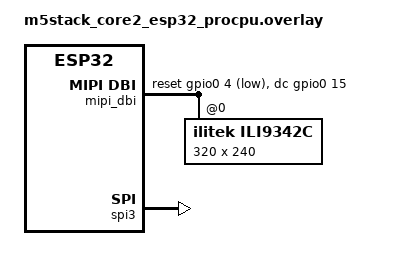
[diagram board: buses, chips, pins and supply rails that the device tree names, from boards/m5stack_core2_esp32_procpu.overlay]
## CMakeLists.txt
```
cmake_minimum_required(VERSION 3.20.0)

find_package(Zephyr REQUIRED HINTS $ENV{ZEPHYR_BASE})
project(m5core2_display)

target_sources(app PRIVATE src/main.c)
```

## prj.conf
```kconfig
# Basic system configs
CONFIG_PRINTK=y
CONFIG_GPIO=y

# SPI and Display configs
CONFIG_SPI=y
CONFIG_DISPLAY=y
CONFIG_ILI9342C=y

# Additional configs that may be needed
CONFIG_MIPI_DBI=y

# For better debugging
CONFIG_ASSERT=y

CONFIG_ESP32_USE_UNSUPPORTED_REVISION=y

CONFIG_REGULATOR=y
CONFIG_I2C=y
```

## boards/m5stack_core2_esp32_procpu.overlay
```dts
/*
 * Device tree overlay for M5 Core 2 ILI9342C display
 */

#include <dt-bindings/gpio/gpio.h>

/ {
	chosen {
		zephyr,display = &ili9342c;
	};

	mipi_dbi {
		compatible = "zephyr,mipi-dbi-spi";
		spi-dev = <&spi3>;
		dc-gpios = <&gpio0 15 GPIO_ACTIVE_HIGH>;	/* DC pin */
		reset-gpios = <&gpio0 4 GPIO_ACTIVE_LOW>;	/* Reset pin - may need AXP192 control */
		#address-cells = <1>;
		#size-cells = <0>;

		ili9342c: ili9342c@0 {
			compatible = "ilitek,ili9342c";
			reg = <0>;
			//spi-max-frequency = <25000000>; /* 25 MHz max for ILI9342C */
			
			pixel-format = <0>; /* RGB565 */
			rotation = <0>;
			width = <320>;
			height = <240>;
			display-inversion;
		};
	};
};

&spi3 {
	status = "okay";
	#address-cells = <1>;
	#size-cells = <0>;
	cs-gpios = <&gpio0 5 GPIO_ACTIVE_LOW>;	/* CS pin */
};
```

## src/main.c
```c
#include <zephyr/kernel.h>
#include <zephyr/device.h>
#include <zephyr/sys/printk.h>

#include "display.h"
#include "haptics.h"

#define GUI_TEST_THREAD_PRIORITY 7
#define TEST_THREAD_STACK_SIZE 1024

int main(void) {
    int ret;
    printk("Starting display test...\n");
    ret = display_init();
    printk("Display initialisation exited with: %d\n", ret);
    ret = haptics_init();
    printk("Haptics initialisation exited with: %d\n", ret);
    
}

/* Test thread. */
int gui_test_thread(void) {

    // wait for inits..
    k_sleep(K_SECONDS(20));

    printk("GUI Thread Starting...\n");
    int cycle = 0;
    
    int count = 0;
    while (count < 20) {
        haptics_start();
        trig_emergency_warning(cycle);
        for (int strength = 1; strength <= 100; strength += 1) {
            haptics_set_strength(strength);
            k_sleep(K_MSEC(4));
        }
        for (int strength = 100; strength >= 1; strength -= 1) {
            haptics_set_strength(strength);
            k_sleep(K_MSEC(4));
        }
        haptics_stop();
        k_sleep(K_MSEC(100));
        cycle = !cycle;
        count++;
    }
    
    return 0;
}

/* Define threads with respective priority. */
//REF: https://github.com/zephyrproject-rtos/zephyr/blob/main/samples/basic/threads/
K_THREAD_DEFINE(gui_test_thread_id, TEST_THREAD_STACK_SIZE,
    gui_test_thread, NULL, NULL, NULL,
    GUI_TEST_THREAD_PRIORITY, 0, 0);
```

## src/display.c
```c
/*
 * M5 Core 2 Display Example
 */

#include <zephyr/kernel.h>
#include <zephyr/device.h>
#include <zephyr/drivers/display.h>
#include <zephyr/drivers/gpio.h>
#include <zephyr/sys/printk.h>

#include <string.h>

#include "display.h"

//#define USE_BIG_NUMS

#ifdef USE_BIG_NUMS
#include "font32x48_nums.h"
#endif
#include "font16x16.h"
#include "font8x8.h"

#define DISPLAY_NODE DT_CHOSEN(zephyr_display)

/* Buffer for drawing patterns */
static uint16_t display_buffer[DISPLAY_HEIGHT * DISPLAY_WIDTH];

//uint16_t *display_buffer = NULL;
//size_t buffer_size = DISPLAY_WIDTH * DISPLAY_HEIGHT * sizeof(uint16_t);

static const struct device *display_dev;
static struct display_capabilities display_caps;

struct display_buffer_descriptor desc = {
            .buf_size = DISPLAY_WIDTH * DISPLAY_HEIGHT * 2,
            .width = DISPLAY_WIDTH,
            .height = DISPLAY_HEIGHT,
            .pitch = DISPLAY_WIDTH,
};



static void draw_test_pattern_1(void)
{
    int width = display_caps.x_resolution;
    int height = display_caps.y_resolution;
    
    printk("Drawing test pattern on %dx%d display\n", width, height);
    
    /* Create a colorful test pattern */
    for (int y = 0; y < height; y++) {
        for (int x = 0; x < width; x++) {
            uint16_t color;
            
            /* Create vertical color bars */
            if (x < width / 8) {
                color = RED;
            } else if (x < width * 2 / 8) {
                color = GREEN;
            } else if (x < width * 3 / 8) {
                color = BLUE;
            } else if (x < width * 4 / 8) {
                color = YELLOW;
            } else if (x < width * 5 / 8) {
                color = CYAN;
            } else if (x < width * 6 / 8) {
                color = MAGENTA;
            } else if (x < width * 7 / 8) {
                color = WHITE;
            } else {
                color = BLACK;
            }
            
            /* Add horizontal gradient effect */
            if (y > height / 2) {
                /* Dim the lower half */
                color = (color >> 1) & 0x7BEF; /* Divide RGB components by 2 */
            }
            
            display_buffer[y * width + x] = color;
        }
    }
    
    /* Write the buffer to display */
    struct display_buffer_descriptor desc = {
        .buf_size = width * height * 2, /* 2 bytes per pixel for RGB565 */
        .width = width,
        .height = height,
        .pitch = width,
    };
    
    int ret = display_write(display_dev, 0, 0, &desc, display_buffer);
    if (ret != 0) {
        printk("Failed to write to display: %d\n", ret);
    } else {
        printk("Test pattern drawn successfully\n");
    }
}
/*
static void draw_test_pattern_2(void)
{
    int width = display_caps.x_resolution;
    int height = display_caps.y_resolution;
    
    printk("Drawing simple rectangles\n");
    
    // Clear display first.
    memset(display_buffer, 0, sizeof(display_buffer));
    
    // Draw colored rectangles.
    uint16_t colors[] = {RED, GREEN, BLUE, YELLOW};
    int rect_width = width / 2;
    int rect_height = height / 2;
    
    for (int rect = 0; rect < 4; rect++) {
        int start_x = (rect % 2) * rect_width;
        int start_y = (rect / 2) * rect_height;
        uint16_t color = colors[rect];
        
        for (int y = start_y; y < start_y + rect_height; y++) {
            for (int x = start_x; x < start_x + rect_width; x++) {
                if (x < width && y < height) {
                    display_buffer[y * width + x] = color;
                }
            }
        }
    }
    
    // Write to display. 
    struct display_buffer_descriptor desc = {
        .buf_size = width * height * 2,
        .width = width,
        .height = height,
        .pitch = width,
    };
    
    int ret = display_write(display_dev, 0, 0, &desc, display_buffer);
    if (ret != 0) {
        printk("Failed to write rectangles to display: %d\n", ret);
    } else {
        printk("Rectangles drawn successfully\n");
    }
}
*/
void fill_buffer(uint16_t color) {
    for (int i = 0; i < DISPLAY_WIDTH * DISPLAY_HEIGHT; i++) {
        display_buffer[i] = color;
    }
}

void draw_rectangle(int x, int y, int width, int height, uint16_t color) {
    for (int row = 0; row < height; row++) {
        for (int col = 0; col < width; col++) {
            int pixel_x = x + col;
            int pixel_y = y + row;
            
            if (pixel_x >= 0 && pixel_x < DISPLAY_WIDTH && 
                pixel_y >= 0 && pixel_y < DISPLAY_HEIGHT) {
                display_buffer[pixel_y * DISPLAY_WIDTH + pixel_x] = color;
            } else {
                printk("Bounding error in draw_rectangle!\n");
            }
        }
    }
}

static void draw_exclamation_mark(uint16_t *buffer, uint16_t color) {
    int center_x = DISPLAY_WIDTH / 2;
    int center_y = DISPLAY_HEIGHT / 2;
    
    int line_width = 12;    /* Width of vertical line */
    int line_height = 80;   /* Height of vertical line */
    int dot_size = 12;      /* Size of dot (square) */
    int gap = 15;           /* Gap between line and dot */
    
    int line_x = center_x - (line_width / 2);
    int line_y = center_y - (line_height / 2) - (gap / 2) - (dot_size / 2);
    
    int dot_x = center_x - (dot_size / 2);
    int dot_y = line_y + line_height + gap;
    
    draw_rectangle(line_x, line_y, line_width, line_height, color);
    draw_rectangle(dot_x, dot_y, dot_size, dot_size, color);

}

int trig_emergency_warning(int state) {

    //printk("Drawing Exclamation!\n");

    //memset(display_buffer, 0, sizeof(display_buffer));
    clear_buffer();

    int center_x = DISPLAY_WIDTH / 2;
    int center_y = DISPLAY_HEIGHT / 2;
    
    int line_width = 12;
    int line_height = 80;
    int dot_size = 12;
    int gap = 15;
    
    int line_x = center_x - (line_width / 2);
    int line_y = center_y - (line_height / 2) - (gap / 2) - (dot_size / 2);
    
    int dot_x = center_x - (dot_size / 2);
    int dot_y = line_y + line_height + gap;

    if (state) {
        fill_buffer(RED);
        draw_exclamation_mark(display_buffer, WHITE);
        
        // Position "RECORDING" between bottom of exclamation and bottom of screen
        int text_x = center_x - 72;  // 9 chars * 16 pixels / 2
        int text_y = (dot_y + dot_size + DISPLAY_HEIGHT) / 2 - 8;  // Centered vertically
        draw_text_16(text_x, text_y, "RECORDING", WHITE, RED);
        
    } else {
        fill_buffer(BLUE);
        draw_exclamation_mark(display_buffer, BLACK);
        
        // Position "RECORDING" between bottom of exclamation and bottom of screen
        int text_x = center_x - 72;  // 9 chars * 16 pixels / 2
        int text_y = (dot_y + dot_size + DISPLAY_HEIGHT) / 2 - 8;  // Centered vertically
        draw_text_16(text_x, text_y, "RECORDING", BLACK, BLUE);
    }

    int ret = display_write(display_dev, 0, 0, &desc, display_buffer);
    if (ret != 0) {
        printk("Failed to write rectangles to display: %d\n", ret);
    } else {
        //printk("Rectangles drawn successfully\n");
    }

    return 0;
}

void send_buffer() {
    display_write(display_dev, 0, 0, &desc, display_buffer);
}

void clear_buffer() {
    memset(display_buffer, 0, DISPLAY_WIDTH * DISPLAY_HEIGHT * 2);
    //memset(display_buffer, 0, buffer_size);
}

#ifdef USE_BIG_NUMS
void draw_dot_32(uint16_t *buffer, int x, int y, uint16_t color, uint16_t bg_color) {

    const int dot_size = 8;
    const int dot_width = 16;  // Total advance width (narrower than numbers)
    const int dot_start_row = 35;  // Start drawing dot at row 35 (out of 48 total)
    const int dot_start_col = (dot_width - dot_size) / 2;  // Center horizontally
    
    // Draw background for the entire dot character area (16 pixels wide)
    for (int row = 0; row < 48; row++) {
        for (int col = 0; col < dot_width; col++) {
            int pixel_x = x + col;
            int pixel_y = y + row;
            
            // Bounds checking
            if (pixel_x >= DISPLAY_WIDTH || pixel_y >= DISPLAY_HEIGHT || 
                pixel_x < 0 || pixel_y < 0) {
                continue;
            }
            
            // Determine if this pixel is part of the dot
            bool is_dot = false;
            if (row >= dot_start_row && row < dot_start_row + dot_size &&
                col >= dot_start_col && col < dot_start_col + dot_size) {
                is_dot = true;
            }
            
            uint16_t pixel_color = is_dot ? color : bg_color;
            buffer[pixel_y * DISPLAY_WIDTH + pixel_x] = pixel_color;
        }
    }
}
#endif

void draw_string_variable(uint16_t *buffer, int x, int y, const char *text, 
                         const uint8_t *font, uint16_t color, uint16_t bg_color) {

    uint8_t font_width = font[2];
    uint8_t font_height = font[3];
    uint8_t first_char = font[4];
    uint8_t char_count = font[5];
    const uint8_t *font_data = &font[6];
    
    int current_x = x;
    
    for (int i = 0; text[i] != '\0'; i++) {
        char c = text[i];
        
        #ifdef USE_BIG_NUMS
        if (c == '.' && font == fixednums32x48) {
            draw_dot_32(buffer, current_x, y, color, bg_color);
            current_x += 16; 
            continue;
        }
        #endif
        
        if (c < first_char || c >= first_char + char_count) {
            current_x += font_width;
            continue;
        }
        
        int char_index = c - first_char;
        
        int bytes_per_char;
        if (font_width == 8) {
            bytes_per_char = font_height; // 1 byte per row for 8-pixel width
        } else if (font_width == 16) {
            bytes_per_char = font_height * 2; // 2 bytes per row for 16-pixel width
        } else if (font_width == 32) {
            bytes_per_char = font_height * 4; // 4 bytes per row for 32-pixel width
        } else {
            // Unsupported font width, skip
            current_x += font_width;
            continue;
        }
        
        const uint8_t *char_data = font_data + (char_index * bytes_per_char);
        
        for (int row = 0; row < font_height; row++) {
            for (int col = 0; col < font_width; col++) {
                int pixel_x = current_x + col;
                int pixel_y = y + row;

                if (pixel_x >= DISPLAY_WIDTH || pixel_y >= DISPLAY_HEIGHT || 
                    pixel_x < 0 || pixel_y < 0) {
                    continue;
                }
                
                bool pixel_set = false;
                
                if (font_width == 8) {
                    // 8-bit font: 1 byte per row
                    uint8_t row_data = char_data[row];
                    pixel_set = (row_data & (1 << col)) != 0;
                } else if (font_width == 16) {
                    // 16-bit font: 2 bytes per row, big-endian format
                    uint16_t row_data = (char_data[row * 2] << 8) | char_data[row * 2 + 1];
                    pixel_set = (row_data & (0x8000 >> col)) != 0;
                } else if (font_width == 32) {
                    // 32-bit font: 4 bytes per row, big-endian format
                    int byte_index = row * 4 + (col / 8);        // Which byte in this row
                    int bit_index = 7 - (col % 8);               // Which bit in that byte
                    uint8_t byte_data = char_data[byte_index];
                    pixel_set = (byte_data & (1 << bit_index)) != 0;
                }
                uint16_t pixel_color = pixel_set ? color : bg_color;
                buffer[pixel_y * DISPLAY_WIDTH + pixel_x] = pixel_color;
            }
        }
        current_x += font_width;
    }
}

void draw_text_8(int x, int y, const char *text, 
                  uint16_t color, uint16_t bg_color) {
    draw_string_variable(display_buffer, x, y, text, font8x8, color, bg_color);
}

void draw_text_16(int x, int y, const char *text, 
                  uint16_t color, uint16_t bg_color) {
    draw_string_variable(display_buffer, x, y, text, font16x16, color, bg_color);
}

#ifdef USE_BIG_NUMS
void draw_num_32(int x, int y, const char *text, 
                 uint16_t color, uint16_t bg_color) {

    for (int i = 0; text[i] != '\0'; i++) {
        if ((text[i] < '0' || text[i] > '9') && text[i] != '.') {
            return;
        }
    }
    
    draw_string_variable(display_buffer, x, y, text, fixednums32x48, color, bg_color);
}
#endif

int display_init(void) {
    printk("M5 Core 2 Display Example Starting\n");
    
    /* Get display device */
    display_dev = DEVICE_DT_GET(DISPLAY_NODE);
    if (!device_is_ready(display_dev)) {
        printk("Display device not ready\n");
        return -1;
    }
    
    printk("Display device ready\n");
    
    /* Get display capabilities */
    display_get_capabilities(display_dev, &display_caps);
    
    printk("  === Display Capabilities ===\n");
    printk("  Resolution: %dx%d\n", display_caps.x_resolution, display_caps.y_resolution);
    printk("  Pixel format: %d\n", display_caps.supported_pixel_formats);
    printk("  Screen info: %d\n", display_caps.screen_info);
    
    /*
    size_t buffer_size = DISPLAY_WIDTH * DISPLAY_HEIGHT * sizeof(uint16_t);
    display_buffer = k_calloc(DISPLAY_WIDTH * DISPLAY_HEIGHT, sizeof(uint16_t));
    if (!display_buffer) {
        printk("Failed to allocate display buffer\n");
        return -ENOMEM;
    }
    */

    /* Turn off blanking (turn on display) */
    int ret = display_blanking_off(display_dev);
    if (ret != 0) {
        printk("Could not turn off blanking: %d", ret);
    }
    
    printk("Starting display pattern demo\n");

    draw_test_pattern_1();
    k_sleep(K_MSEC(10));
    clear_buffer();

    return 0;
}
```

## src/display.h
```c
#ifndef DISPLAY_H
#define DISPLAY_H

/* RGB565 color definitions */
#define RED     0xF800
#define GREEN   0x001F
#define BLUE    0x07E0
#define WHITE   0xFFFF
#define BLACK   0x0000
#define YELLOW  0x80FE//0xFFE0
#define CYAN    0x07FF
#define MAGENTA 0xF81F

#define BORDER_PURPLE 0xB730

#define DISPLAY_HEIGHT 240
#define DISPLAY_WIDTH 320

//#define dynamic_display_buffer

#ifdef dynamic_display_buffer 
extern uint16_t *display_buffer;
#endif

struct font_info {
    const unsigned char *data;
    int char_width;
    int char_height;
    int first_char;
    int char_count;
};

int display_init(void);
int trig_emergency_warning(int state);

void draw_num_32(int x, int y, const char *text, 
                 uint16_t color, uint16_t bg_color);

void draw_text_16(int x, int y, const char *text, 
                  uint16_t color, uint16_t bg_color);

void draw_text_8(int x, int y, const char *text, 
                  uint16_t color, uint16_t bg_color);

void draw_rectangle(int x, int y, int width, 
                 int height, uint16_t color);

void fill_buffer(uint16_t color);
void clear_buffer();
void send_buffer();


#endif 
```

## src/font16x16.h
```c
#include <stdint.h>

const uint8_t font16x16[] = {
    0x00, 0x00, // size
    16,         // width
    16,         // height
    0x20,       // first char
    96,         // char count
    
    // Fixed width; char width table not used !!!!
    0x00,0x00,0x00,0x00,0x00,0x00,0x00,0x00,0x00,0x00,0x00,0x00,0x00,0x00,0x00,0x00,0x00,0x00,0x00,0x00,0x00,0x00,0x00,0x00,0x00,0x00,0x00,0x00,0x00,0x00,0x00,0x00, //  <Space>
    0x00,0x00,0x00,0x00,0x07,0x00,0x0F,0x80,0x0F,0x80,0x0F,0x80,0x0F,0x80,0x0F,0x80,0x07,0x00,0x07,0x00,0x00,0x00,0x00,0x00,0x07,0x00,0x07,0x00,0x07,0x00,0x00,0x00, // !
    0x00,0x00,0x0E,0x38,0x0E,0x38,0x0E,0x38,0x0E,0x38,0x06,0x30,0x00,0x00,0x00,0x00,0x00,0x00,0x00,0x00,0x00,0x00,0x00,0x00,0x00,0x00,0x00,0x00,0x00,0x00,0x00,0x00, // "
    0x00,0x00,0x0C,0x30,0x0C,0x30,0x0C,0x30,0x7F,0xFE,0x7F,0xFE,0x0C,0x30,0x0C,0x30,0x0C,0x30,0x0C,0x30,0x7F,0xFE,0x7F,0xFE,0x0C,0x30,0x0C,0x30,0x0C,0x30,0x00,0x00, // #
    0x00,0x00,0x02,0x40,0x02,0x40,0x0F,0xF8,0x1F,0xF8,0x1A,0x40,0x1A,0x40,0x1F,0xF0,0x0F,0xF8,0x02,0x58,0x02,0x58,0x1F,0xF8,0x1F,0xF0,0x02,0x40,0x02,0x40,0x00,0x00, // $
    0x00,0x00,0x00,0x00,0x00,0x00,0x0E,0x10,0x0E,0x30,0x0E,0x70,0x00,0xE0,0x01,0xC0,0x03,0x80,0x07,0x00,0x0E,0x70,0x0C,0x70,0x08,0x70,0x00,0x00,0x00,0x00,0x00,0x00, // %
    0x00,0x00,0x00,0x00,0x0F,0x00,0x19,0x80,0x19,0x80,0x19,0x80,0x0F,0x00,0x0F,0x08,0x0F,0x98,0x19,0xF8,0x18,0xF0,0x18,0xE0,0x19,0xF0,0x0F,0x98,0x00,0x00,0x00,0x00, // &
    0x00,0x00,0x00,0x00,0x07,0x00,0x07,0x00,0x07,0x00,0x0E,0x00,0x00,0x00,0x00,0x00,0x00,0x00,0x00,0x00,0x00,0x00,0x00,0x00,0x00,0x00,0x00,0x00,0x00,0x00,0x00,0x00, // '
    0x00,0x00,0x00,0x00,0x00,0xF0,0x01,0xC0,0x03,0x80,0x07,0x00,0x0E,0x00,0x0E,0x00,0x0E,0x00,0x0E,0x00,0x07,0x00,0x03,0x80,0x01,0xC0,0x00,0xF0,0x00,0x00,0x00,0x00, // (
    0x00,0x00,0x00,0x00,0x0F,0x00,0x03,0x80,0x01,0xC0,0x00,0xE0,0x00,0x70,0x00,0x70,0x00,0x70,0x00,0x70,0x00,0xE0,0x01,0xC0,0x03,0x80,0x0F,0x00,0x00,0x00,0x00,0x00, // )
    0x00,0x00,0x00,0x00,0x01,0x80,0x11,0x88,0x09,0x90,0x07,0xE0,0x07,0xE0,0x3F,0xFC,0x3F,0xFC,0x07,0xE0,0x07,0xE0,0x09,0x90,0x11,0x88,0x01,0x80,0x00,0x00,0x00,0x00, // *
    0x00,0x00,0x00,0x00,0x00,0x00,0x00,0x00,0x01,0x80,0x01,0x80,0x01,0x80,0x0F,0xF0,0x0F,0xF0,0x01,0x80,0x01,0x80,0x01,0x80,0x00,0x00,0x00,0x00,0x00,0x00,0x00,0x00, // +
    0x00,0x00,0x00,0x00,0x00,0x00,0x00,0x00,0x00,0x00,0x00,0x00,0x00,0x00,0x00,0x00,0x00,0x00,0x00,0x00,0x00,0x00,0x07,0x00,0x07,0x00,0x07,0x00,0x0E,0x00,0x00,0x00, // ,
    0x00,0x00,0x00,0x00,0x00,0x00,0x00,0x00,0x00,0x00,0x00,0x00,0x00,0x00,0x1F,0xF8,0x1F,0xF8,0x00,0x00,0x00,0x00,0x00,0x00,0x00,0x00,0x00,0x00,0x00,0x00,0x00,0x00, // -
    0x00,0x00,0x00,0x00,0x00,0x00,0x00,0x00,0x00,0x00,0x00,0x00,0x00,0x00,0x00,0x00,0x00,0x00,0x00,0x00,0x00,0x00,0x07,0x00,0x07,0x00,0x07,0x00,0x00,0x00,0x00,0x00, // ,
    0x00,0x00,0x00,0x00,0x00,0x02,0x00,0x06,0x00,0x0E,0x00,0x1C,0x00,0x38,0x00,0x70,0x00,0xE0,0x01,0xC0,0x03,0x80,0x07,0x00,0x0E,0x00,0x1C,0x00,0x00,0x00,0x00,0x00, // /
    0x00,0x00,0x00,0x00,0x0F,0xF0,0x1C,0x38,0x1C,0x78,0x1C,0xF8,0x1C,0xF8,0x1D,0xB8,0x1D,0xB8,0x1F,0x38,0x1F,0x38,0x1E,0x38,0x1C,0x38,0x0F,0xF0,0x00,0x00,0x00,0x00, // 0
    0x00,0x00,0x00,0x00,0x01,0x80,0x01,0x80,0x03,0x80,0x1F,0x80,0x1F,0x80,0x03,0x80,0x03,0x80,0x03,0x80,0x03,0x80,0x03,0x80,0x03,0x80,0x1F,0xF0,0x00,0x00,0x00,0x00, // 1
    0x00,0x00,0x00,0x00,0x0F,0xE0,0x1C,0x70,0x1C,0x38,0x00,0x38,0x00,0x70,0x00,0xE0,0x01,0xC0,0x03,0x80,0x07,0x00,0x0E,0x38,0x1C,0x38,0x1F,0xF8,0x00,0x00,0x00,0x00, // 2
    0x00,0x00,0x00,0x00,0x0F,0xE0,0x1C,0x70,0x1C,0x38,0x00,0x38,0x00,0x70,0x03,0xC0,0x03,0xC0,0x00,0x70,0x00,0x38,0x1C,0x38,0x1C,0x70,0x0F,0xE0,0x00,0x00,0x00,0x00, // 3
    0x00,0x00,0x00,0x00,0x00,0xE0,0x01,0xE0,0x03,0xE0,0x06,0xE0,0x0C,0xE0,0x18,0xE0,0x1F,0xF8,0x1F,0xF8,0x00,0xE0,0x00,0xE0,0x00,0xE0,0x03,0xF8,0x00,0x00,0x00,0x00, // 4
    0x00,0x00,0x00,0x00,0x1F,0xF8,0x1C,0x00,0x1C,0x00,0x1C,0x00,0x1C,0x00,0x1F,0xE0,0x1F,0xF0,0x00,0x78,0x00,0x38,0x1C,0x38,0x1C,0x70,0x0F,0xE0,0x00,0x00,0x00,0x00, // 5
    0x00,0x00,0x00,0x00,0x03,0xE0,0x07,0x00,0x0E,0x00,0x1C,0x00,0x1C,0x00,0x1F,0xF0,0x1F,0xF8,0x1C,0x38,0x1C,0x38,0x1C,0x38,0x1C,0x38,0x0F,0xF0,0x00,0x00,0x00,0x00, // 6
    0x00,0x00,0x00,0x00,0x1F,0xFC,0x1C,0x1C,0x1C,0x1C,0x1C,0x1C,0x00,0x1C,0x00,0x38,0x00,0x70,0x00,0xE0,0x01,0xC0,0x03,0x80,0x03,0x80,0x03,0x80,0x00,0x00,0x00,0x00, // 7
    0x00,0x00,0x00,0x00,0x0F,0xF0,0x1C,0x38,0x1C,0x38,0x1C,0x38,0x1F,0x38,0x07,0xE0,0x07,0xE0,0x1C,0xF8,0x1C,0x38,0x1C,0x38,0x1C,0x38,0x0F,0xF0,0x00,0x00,0x00,0x00, // 8
    0x00,0x00,0x00,0x00,0x0F,0xF0,0x1C,0x38,0x1C,0x38,0x1C,0x38,0x1C,0x38,0x1F,0xF8,0x0F,0xF8,0x00,0x38,0x00,0x38,0x00,0x70,0x00,0xE0,0x07,0xC0,0x00,0x00,0x00,0x00, // 9
    0x00,0x00,0x00,0x00,0x00,0x00,0x00,0x00,0x03,0x80,0x03,0x80,0x03,0x80,0x00,0x00,0x00,0x00,0x03,0x80,0x03,0x80,0x03,0x80,0x00,0x00,0x00,0x00,0x00,0x00,0x00,0x00, // :
    0x00,0x00,0x00,0x00,0x00,0x00,0x00,0x00,0x03,0x80,0x03,0x80,0x03,0x80,0x00,0x00,0x00,0x00,0x03,0x80,0x03,0x80,0x03,0x80,0x07,0x00,0x00,0x00,0x00,0x00,0x00,0x00, // ;
    0x00,0x00,0x00,0x70,0x00,0xE0,0x01,0xC0,0x03,0x80,0x07,0x00,0x0E,0x00,0x1C,0x00,0x1C,0x00,0x0E,0x00,0x07,0x00,0x03,0x80,0x01,0xC0,0x00,0xE0,0x00,0x70,0x00,0x00, // <
    0x00,0x00,0x00,0x00,0x00,0x00,0x00,0x00,0x00,0x00,0x3F,0xFC,0x3F,0xFC,0x00,0x00,0x00,0x00,0x3F,0xFC,0x3F,0xFC,0x00,0x00,0x00,0x00,0x00,0x00,0x00,0x00,0x00,0x00, // =
    0x00,0x00,0x1C,0x00,0x0E,0x00,0x07,0x00,0x03,0x80,0x01,0xC0,0x00,0xE0,0x00,0x70,0x00,0x70,0x00,0xE0,0x01,0xC0,0x03,0x80,0x07,0x00,0x0E,0x00,0x1C,0x00,0x00,0x00, // >
    0x00,0x00,0x03,0xC0,0x0F,0xF0,0x1E,0x78,0x18,0x38,0x00,0x38,0x00,0x70,0x00,0xE0,0x01,0xC0,0x01,0xC0,0x00,0x00,0x00,0x00,0x01,0xC0,0x01,0xC0,0x01,0xC0,0x00,0x00, // ?
    0x00,0x00,0x0F,0xF8,0x1C,0x1C,0x1C,0x1C,0x1C,0x1C,0x1C,0x1C,0x1C,0xFC,0x1C,0xFC,0x1C,0xFC,0x1C,0xFC,0x1C,0x00,0x1C,0x00,0x1C,0x00,0x1F,0xF0,0x07,0xF8,0x00,0x00, // @
    0x00,0x00,0x00,0x00,0x03,0xC0,0x07,0xE0,0x0E,0x70,0x1C,0x38,0x1C,0x38,0x1C,0x38,0x1C,0x38,0x1F,0xF8,0x1C,0x38,0x1C,0x38,0x1C,0x38,0x1C,0x38,0x00,0x00,0x00,0x00, // A
    0x00,0x00,0x00,0x00,0x1F,0xF0,0x0E,0x38,0x0E,0x38,0x0E,0x38,0x0E,0x38,0x0F,0xF0,0x0F,0xF0,0x0E,0x38,0x0E,0x38,0x0E,0x38,0x0E,0x38,0x1F,0xF0,0x00,0x00,0x00,0x00, // B
    0x00,0x00,0x00,0x00,0x07,0xF0,0x0E,0x38,0x1C,0x38,0x1C,0x00,0x1C,0x00,0x1C,0x00,0x1C,0x00,0x1C,0x00,0x1C,0x00,0x1C,0x38,0x0E,0x38,0x07,0xF0,0x00,0x00,0x00,0x00, // C
    0x00,0x00,0x00,0x00,0x1F,0xE0,0x0E,0x70,0x0E,0x38,0x0E,0x38,0x0E,0x38,0x0E,0x38,0x0E,0x38,0x0E,0x38,0x0E,0x38,0x0E,0x38,0x0E,0x70,0x1F,0xE0,0x00,0x00,0x00,0x00, // D
    0x00,0x00,0x00,0x00,0x1F,0xF8,0x0E,0x18,0x0E,0x08,0x0E,0x00,0x0E,0x30,0x0F,0xF0,0x0F,0xF0,0x0E,0x30,0x0E,0x00,0x0E,0x08,0x0E,0x18,0x1F,0xF8,0x00,0x00,0x00,0x00, // E
    0x00,0x00,0x00,0x00,0x1F,0xF8,0x0E,0x18,0x0E,0x08,0x0E,0x00,0x0E,0x30,0x0F,0xF0,0x0F,0xF0,0x0E,0x30,0x0E,0x00,0x0E,0x00,0x0E,0x00,0x1F,0x00,0x00,0x00,0x00,0x00, // F
    0x00,0x00,0x00,0x00,0x07,0xF0,0x0E,0x38,0x1C,0x38,0x1C,0x38,0x1C,0x00,0x1C,0x00,0x1C,0x00,0x1C,0xF8,0x1C,0x38,0x1C,0x38,0x0E,0x38,0x07,0xF8,0x00,0x00,0x00,0x00, // G
    0x00,0x00,0x00,0x00,0x1C,0x70,0x1C,0x70,0x1C,0x70,0x1C,0x70,0x1C,0x70,0x1F,0xF0,0x1F,0xF0,0x1C,0x70,0x1C,0x70,0x1C,0x70,0x1C,0x70,0x1C,0x70,0x00,0x00,0x00,0x00, // H
    0x00,0x00,0x00,0x00,0x0F,0xE0,0x03,0x80,0x03,0x80,0x03,0x80,0x03,0x80,0x03,0x80,0x03,0x80,0x03,0x80,0x03,0x80,0x03,0x80,0x03,0x80,0x0F,0xE0,0x00,0x00,0x00,0x00, // I
    0x00,0x00,0x00,0x00,0x01,0xFC,0x00,0x70,0x00,0x70,0x00,0x70,0x00,0x70,0x00,0x70,0x00,0x70,0x38,0x70,0x38,0x70,0x38,0x70,0x38,0x70,0x0F,0xE0,0x00,0x00,0x00,0x00, // J
    0x00,0x00,0x00,0x00,0x1E,0x38,0x0E,0x38,0x0E,0x70,0x0E,0xE0,0x0F,0xC0,0x0F,0x80,0x0F,0x80,0x0F,0xC0,0x0E,0xE0,0x0E,0x70,0x0E,0x38,0x1E,0x38,0x00,0x00,0x00,0x00, // K
    0x00,0x00,0x00,0x00,0x1F,0x00,0x0E,0x00,0x0E,0x00,0x0E,0x00,0x0E,0x00,0x0E,0x00,0x0E,0x00,0x0E,0x00,0x0E,0x08,0x0E,0x18,0x0E,0x38,0x1F,0xF8,0x00,0x00,0x00,0x00, // L
    0x00,0x00,0x00,0x00,0x1C,0x1C,0x1E,0x3C,0x1F,0x7C,0x1F,0xFC,0x1F,0xFC,0x1D,0xDC,0x1C,0x9C,0x1C,0x1C,0x1C,0x1C,0x1C,0x1C,0x1C,0x1C,0x1C,0x1C,0x00,0x00,0x00,0x00, // M
    0x00,0x00,0x00,0x00,0x1C,0x1C,0x1C,0x1C,0x1E,0x1C,0x1F,0x1C,0x1F,0x9C,0x1D,0xDC,0x1C,0xFC,0x1C,0x7C,0x1C,0x3C,0x1C,0x1C,0x1C,0x1C,0x1C,0x1C,0x00,0x00,0x00,0x00, // N
    0x00,0x00,0x00,0x00,0x03,0xE0,0x07,0xF0,0x0E,0x38,0x1C,0x1C,0x1C,0x1C,0x1C,0x1C,0x1C,0x1C,0x1C,0x1C,0x1C,0x1C,0x0E,0x38,0x07,0xF0,0x03,0xE0,0x00,0x00,0x00,0x00, // O
    0x00,0x00,0x00,0x00,0x1F,0xF0,0x0E,0x38,0x0E,0x38,0x0E,0x38,0x0E,0x38,0x0F,0xF0,0x0F,0xF0,0x0E,0x00,0x0E,0x00,0x0E,0x00,0x0E,0x00,0x1F,0x00,0x00,0x00,0x00,0x00, // P
    0x00,0x00,0x00,0x00,0x03,0xE0,0x0F,0x78,0x0E,0x38,0x1C,0x1C,0x1C,0x1C,0x1C,0x1C,0x1C,0x1C,0x1C,0x7C,0x1C,0xFC,0x0F,0xF8,0x0F,0xF8,0x00,0x38,0x00,0xFC,0x00,0x00, // Q
    0x00,0x00,0x00,0x00,0x1F,0xF0,0x0E,0x38,0x0E,0x38,0x0E,0x38,0x0E,0x38,0x0F,0xF0,0x0F,0xF0,0x0E,0x70,0x0E,0x38,0x0E,0x38,0x0E,0x38,0x1E,0x38,0x00,0x00,0x00,0x00, // R
    0x00,0x00,0x00,0x00,0x0F,0xF0,0x1C,0x38,0x1C,0x38,0x1C,0x38,0x1C,0x00,0x0F,0xE0,0x07,0xF0,0x00,0x38,0x1C,0x38,0x1C,0x38,0x1C,0x38,0x0F,0xF0,0x00,0x00,0x00,0x00, // S
    0x00,0x00,0x00,0x00,0x1F,0xFC,0x19,0xCC,0x11,0xC4,0x01,0xC0,0x01,0xC0,0x01,0xC0,0x01,0xC0,0x01,0xC0,0x01,0xC0,0x01,0xC0,0x01,0xC0,0x07,0xF0,0x00,0x00,0x00,0x00, // T
    0x00,0x00,0x00,0x00,0x1C,0x70,0x1C,0x70,0x1C,0x70,0x1C,0x70,0x1C,0x70,0x1C,0x70,0x1C,0x70,0x1C,0x70,0x1C,0x70,0x1C,0x70,0x1C,0x70,0x0F,0xE0,0x00,0x00,0x00,0x00, // U
    0x00,0x00,0x00,0x00,0x1C,0x70,0x1C,0x70,0x1C,0x70,0x1C,0x70,0x1C,0x70,0x1C,0x70,0x1C,0x70,0x1C,0x70,0x1C,0x70,0x0E,0xE0,0x07,0xC0,0x03,0x80,0x00,0x00,0x00,0x00, // V
    0x00,0x00,0x00,0x00,0x1C,0x1C,0x1C,0x1C,0x1C,0x1C,0x1C,0x1C,0x1C,0x1C,0x1C,0x9C,0x1C,0x9C,0x1C,0x9C,0x0F,0xF8,0x0F,0xF8,0x07,0x70,0x07,0x70,0x00,0x00,0x00,0x00, // W
    0x00,0x00,0x00,0x00,0x1C,0x70,0x1C,0x70,0x1C,0x70,0x0E,0xE0,0x07,0xC0,0x03,0x80,0x03,0x80,0x07,0xC0,0x0E,0xE0,0x1C,0x70,0x1C,0x70,0x1C,0x70,0x00,0x00,0x00,0x00, // X
    0x00,0x00,0x00,0x00,0x1C,0x70,0x1C,0x70,0x1C,0x70,0x1C,0x70,0x1C,0x70,0x0E,0xE0,0x07,0xC0,0x03,0x80,0x03,0x80,0x03,0x80,0x03,0x80,0x0F,0xE0,0x00,0x00,0x00,0x00, // Y
    0x00,0x00,0x00,0x00,0x1F,0xF8,0x1C,0x38,0x18,0x38,0x10,0x70,0x00,0xE0,0x01,0xC0,0x03,0x80,0x07,0x00,0x0E,0x08,0x1C,0x18,0x1C,0x38,0x1F,0xF8,0x00,0x00,0x00,0x00, // Z
    0x00,0x00,0x00,0x00,0x07,0xF0,0x07,0x00,0x07,0x00,0x07,0x00,0x07,0x00,0x07,0x00,0x07,0x00,0x07,0x00,0x07,0x00,0x07,0x00,0x07,0x00,0x07,0xF0,0x00,0x00,0x00,0x00, // [
    0x00,0x00,0x00,0x00,0x10,0x00,0x18,0x00,0x1C,0x00,0x0E,0x00,0x07,0x00,0x03,0x80,0x01,0xC0,0x00,0xE0,0x00,0x70,0x00,0x38,0x00,0x1C,0x00,0x07,0x00,0x00,0x00,0x00, // <Backslash>
    0x00,0x00,0x00,0x00,0x07,0xF0,0x00,0x70,0x00,0x70,0x00,0x70,0x00,0x70,0x00,0x70,0x00,0x70,0x00,0x70,0x00,0x70,0x00,0x70,0x00,0x70,0x07,0xF0,0x00,0x00,0x00,0x00, // ]
    0x00,0x00,0x01,0x80,0x03,0xC0,0x07,0xE0,0x0E,0x70,0x1C,0x38,0x00,0x00,0x00,0x00,0x00,0x00,0x00,0x00,0x00,0x00,0x00,0x00,0x00,0x00,0x00,0x00,0x00,0x00,0x00,0x00, // ^
    0x00,0x00,0x00,0x00,0x00,0x00,0x00,0x00,0x00,0x00,0x00,0x00,0x00,0x00,0x00,0x00,0x00,0x00,0x00,0x00,0x00,0x00,0x00,0x00,0x00,0x00,0x00,0x00,0x7F,0xFF,0x7F,0xFF, // _
    0x00,0x00,0x00,0x00,0x1C,0x00,0x1C,0x00,0x07,0x00,0x07,0x00,0x00,0x00,0x00,0x00,0x00,0x00,0x00,0x00,0x00,0x00,0x00,0x00,0x00,0x00,0x00,0x00,0x00,0x00,0x00,0x00, // '
    0x00,0x00,0x00,0x00,0x00,0x00,0x00,0x00,0x00,0x00,0x00,0x00,0x0F,0xE0,0x00,0x70,0x00,0x70,0x0F,0xF0,0x1C,0x70,0x1C,0x70,0x1C,0x70,0x0F,0xD8,0x00,0x00,0x00,0x00, // a
    0x00,0x00,0x00,0x00,0x1E,0x00,0x0E,0x00,0x0E,0x00,0x0E,0x00,0x0F,0xF0,0x0E,0x38,0x0E,0x38,0x0E,0x38,0x0E,0x38,0x0E,0x38,0x0E,0x38,0x1B,0xF0,0x00,0x00,0x00,0x00, // b
    0x00,0x00,0x00,0x00,0x00,0x00,0x00,0x00,0x00,0x00,0x00,0x00,0x0F,0xE0,0x1C,0x70,0x1C,0x70,0x1C,0x00,0x1C,0x00,0x1C,0x70,0x1C,0x70,0x0F,0xE0,0x00,0x00,0x00,0x00, // c
    0x00,0x00,0x00,0x00,0x00,0xF8,0x00,0x70,0x00,0x70,0x00,0x70,0x0F,0xF0,0x1C,0x70,0x1C,0x70,0x1C,0x70,0x1C,0x70,0x1C,0x70,0x1C,0x70,0x0F,0xD8,0x00,0x00,0x00,0x00, // d
    0x00,0x00,0x00,0x00,0x00,0x00,0x00,0x00,0x00,0x00,0x00,0x00,0x0F,0xE0,0x1C,0x70,0x1C,0x70,0x1F,0xF0,0x1C,0x00,0x1C,0x70,0x1C,0x70,0x0F,0xE0,0x00,0x00,0x00,0x00, // e
    0x00,0x00,0x00,0x00,0x03,0xE0,0x07,0x70,0x07,0x70,0x07,0x00,0x07,0x00,0x1F,0xE0,0x1F,0xE0,0x07,0x00,0x07,0x00,0x07,0x00,0x07,0x00,0x1F,0xC0,0x00,0x00,0x00,0x00, // f
    0x00,0x00,0x00,0x00,0x00,0x00,0x00,0x00,0x00,0x00,0x00,0x00,0x0F,0xD8,0x1C,0x70,0x1C,0x70,0x1C,0x70,0x1C,0x70,0x0F,0xF0,0x07,0xF0,0x00,0x70,0x1C,0x70,0x0F,0xE0, // g
    0x00,0x00,0x00,0x00,0x1E,0x00,0x0E,0x00,0x0E,0x00,0x0E,0x00,0x0E,0xF0,0x0F,0x38,0x0F,0x38,0x0E,0x38,0x0E,0x38,0x0E,0x38,0x0E,0x38,0x1E,0x38,0x00,0x00,0x00,0x00, // h
    0x00,0x00,0x00,0x00,0x01,0xC0,0x01,0xC0,0x01,0xC0,0x00,0x00,0x0F,0xC0,0x01,0xC0,0x01,0xC0,0x01,0xC0,0x01,0xC0,0x01,0xC0,0x01,0xC0,0x0F,0xF8,0x00,0x00,0x00,0x00, // i
    0x00,0x00,0x00,0x00,0x00,0x70,0x00,0x70,0x00,0x70,0x00,0x00,0x03,0xF0,0x00,0x70,0x00,0x70,0x00,0x70,0x00,0x70,0x00,0x70,0x00,0x70,0x1C,0x70,0x0C,0xF0,0x07,0xE0, // j
    0x00,0x00,0x00,0x00,0x1E,0x00,0x0E,0x00,0x0E,0x00,0x0E,0x00,0x0E,0x38,0x0E,0x70,0x0E,0xE0,0x0F,0xC0,0x0E,0xE0,0x0E,0x70,0x0E,0x38,0x1E,0x38,0x00,0x00,0x00,0x00, // k
    0x00,0x00,0x00,0x00,0x0F,0xC0,0x01,0xC0,0x01,0xC0,0x01,0xC0,0x01,0xC0,0x01,0xC0,0x01,0xC0,0x01,0xC0,0x01,0xC0,0x01,0xC0,0x01,0xC0,0x0F,0xF8,0x00,0x00,0x00,0x00, // l
    0x00,0x00,0x00,0x00,0x00,0x00,0x00,0x00,0x00,0x00,0x00,0x00,0x1F,0xF8,0x1C,0x9C,0x1C,0x9C,0x1C,0x9C,0x1C,0x9C,0x1C,0x9C,0x1C,0x9C,0x1C,0x9C,0x00,0x00,0x00,0x00, // m
    0x00,0x00,0x00,0x00,0x00,0x00,0x00,0x00,0x00,0x00,0x00,0x00,0x1F,0xE0,0x1C,0x70,0x1C,0x70,0x1C,0x70,0x1C,0x70,0x1C,0x70,0x1C,0x70,0x1C,0x70,0x00,0x00,0x00,0x00, // n
    0x00,0x00,0x00,0x00,0x00,0x00,0x00,0x00,0x00,0x00,0x00,0x00,0x0F,0xE0,0x1C,0x70,0x1C,0x70,0x1C,0x70,0x1C,0x70,0x1C,0x70,0x1C,0x70,0x0F,0xE0,0x00,0x00,0x00,0x00, // o
    0x00,0x00,0x00,0x00,0x00,0x00,0x00,0x00,0x00,0x00,0x00,0x00,0x1B,0xF0,0x0E,0x38,0x0E,0x38,0x0E,0x38,0x0E,0x38,0x0E,0x38,0x0F,0xF0,0x0E,0x00,0x0E,0x00,0x1F,0x00, // p
    0x00,0x00,0x00,0x00,0x00,0x00,0x00,0x00,0x00,0x00,0x00,0x00,0x1F,0xB0,0x38,0xE0,0x38,0xE0,0x38,0xE0,0x38,0xE0,0x38,0xE0,0x1F,0xE0,0x00,0xE0,0x00,0xE0,0x01,0xF0, // q
    0x00,0x00,0x00,0x00,0x00,0x00,0x00,0x00,0x00,0x00,0x00,0x00,0x1E,0xF0,0x0F,0xF8,0x0F,0x38,0x0E,0x00,0x0E,0x00,0x0E,0x00,0x0E,0x00,0x1F,0x00,0x00,0x00,0x00,0x00, // r
    0x00,0x00,0x00,0x00,0x00,0x00,0x00,0x00,0x00,0x00,0x00,0x00,0x0F,0xE0,0x1C,0x30,0x1C,0x30,0x0F,0x80,0x03,0xE0,0x18,0x70,0x18,0x70,0x0F,0xE0,0x00,0x00,0x00,0x00, // s
    0x00,0x00,0x00,0x00,0x00,0x00,0x01,0x00,0x03,0x00,0x07,0x00,0x1F,0xF0,0x07,0x00,0x07,0x00,0x07,0x00,0x07,0x00,0x07,0x70,0x07,0x70,0x03,0xE0,0x00,0x00,0x00,0x00, // t
    0x00,0x00,0x00,0x00,0x00,0x00,0x00,0x00,0x00,0x00,0x00,0x00,0x1C,0x70,0x1C,0x70,0x1C,0x70,0x1C,0x70,0x1C,0x70,0x1C,0x70,0x1C,0x70,0x0F,0xD8,0x00,0x00,0x00,0x00, // u
    0x00,0x00,0x00,0x00,0x00,0x00,0x00,0x00,0x00,0x00,0x00,0x00,0x1C,0x70,0x1C,0x70,0x1C,0x70,0x1C,0x70,0x1C,0x70,0x0E,0xE0,0x07,0xC0,0x03,0x80,0x00,0x00,0x00,0x00, // v
    0x00,0x00,0x00,0x00,0x00,0x00,0x00,0x00,0x00,0x00,0x00,0x00,0x1C,0x1C,0x1C,0x1C,0x1C,0x1C,0x1C,0x9C,0x1C,0x9C,0x0F,0xF8,0x07,0x70,0x07,0x70,0x00,0x00,0x00,0x00, // w
    0x00,0x00,0x00,0x00,0x00,0x00,0x00,0x00,0x00,0x00,0x00,0x00,0x1C,0xE0,0x1C,0xE0,0x0F,0xC0,0x07,0x80,0x07,0x80,0x0F,0xC0,0x1C,0xE0,0x1C,0xE0,0x00,0x00,0x00,0x00, // x
    0x00,0x00,0x00,0x00,0x00,0x00,0x00,0x00,0x00,0x00,0x00,0x00,0x0E,0x38,0x0E,0x38,0x0E,0x38,0x0E,0x38,0x0E,0x38,0x07,0xF0,0x03,0xE0,0x00,0xE0,0x01,0xC0,0x1F,0x80, // y
    0x00,0x00,0x00,0x00,0x00,0x00,0x00,0x00,0x00,0x00,0x00,0x00,0x1F,0xE0,0x18,0xE0,0x11,0xC0,0x03,0x80,0x07,0x00,0x0E,0x20,0x1C,0x60,0x1F,0xE0,0x00,0x00,0x00,0x00, // z
    0x00,0x00,0x00,0x00,0x01,0xF8,0x03,0x80,0x03,0x80,0x03,0x80,0x07,0x00,0x1C,0x00,0x1C,0x00,0x07,0x00,0x03,0x80,0x03,0x80,0x03,0x80,0x01,0xF8,0x00,0x00,0x00,0x00, // {
    0x00,0x00,0x01,0xC0,0x01,0xC0,0x01,0xC0,0x01,0xC0,0x01,0xC0,0x01,0xC0,0x01,0xC0,0x01,0xC0,0x01,0xC0,0x01,0xC0,0x01,0xC0,0x01,0xC0,0x01,0xC0,0x01,0xC0,0x00,0x00, // |
    0x00,0x00,0x00,0x00,0x1F,0x80,0x01,0xC0,0x01,0xC0,0x01,0xC0,0x00,0xE0,0x00,0x38,0x00,0x38,0x00,0xE0,0x01,0xC0,0x01,0xC0,0x01,0xC0,0x1F,0x80,0x00,0x00,0x00,0x00, // }
    0x00,0x00,0x00,0x00,0x1F,0x1C,0x3B,0x9C,0x39,0xDC,0x38,0xF8,0x00,0x00,0x00,0x00,0x00,0x00,0x00,0x00,0x00,0x00,0x00,0x00,0x00,0x00,0x00,0x00,0x00,0x00,0x00,0x00  // ~
}; 
```

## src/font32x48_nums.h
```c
// CalibriBold32x48.h
// http://www.rinkydinkelectronics.com/r_fonts.php
// Font type    : Numeric (10 characters)
// Font size    : 32x48 pixels
// Memory usage : 1926 bytes

#include <stdint.h>
/*
const uint8_t fixednums32x48[] = {
    0x0, 0x0,   // size of zero indicates fixed width font
    32,         // width
    48,         // height
    '0',        // first char
    10,         // char count

    0x00,0x00,0x00,0x00,0x00,0x00,0x00,0x00,0x00,0x00,0x00,0x00,0x00,0x3F,0xF8,0x00,0x00,0xFF,0xFE,0x00,0x03,0xFF,0xFF,0x80,0x07,0xFF,0xFF,0xC0,0x0F,0xFF,0xFF,0xC0,0x0F,0xFF,0xFF,0xE0,0x1F,0xFF,0xFF,0xF0,0x1F,0xF8,0x7F,0xF0,0x3F,0xF0,0x3F,0xF0,0x3F,0xE0,0x1F,0xF8,0x3F,0xE0,0x0F,0xF8,0x7F,0xC0,0x0F,0xF8,0x7F,0xC0,0x0F,0xF8,0x7F,0xC0,0x0F,0xF8,0x7F,0xC0,0x07,0xFC,0x7F,0xC0,0x07,0xFC,0x7F,0xC0,0x07,0xFC,0xFF,0x80,0x07,0xFC,0xFF,0x80,0x07,0xFC,0xFF,0x80,0x07,0xFC,0xFF,0x80,0x07,0xFC,0xFF,0x80,0x07,0xFC,0xFF,0x80,0x07,0xFC,0xFF,0x80,0x07,0xFC,0xFF,0x80,0x07,0xFC,0xFF,0xC0,0x07,0xFC,0x7F,0xC0,0x07,0xFC,0x7F,0xC0,0x07,0xF8,0x7F,0xC0,0x0F,0xF8,0x7F,0xC0,0x0F,0xF8,0x7F,0xC0,0x0F,0xF8,0x7F,0xE0,0x0F,0xF8,0x3F,0xE0,0x1F,0xF0,0x3F,0xF0,0x3F,0xF0,0x3F,0xF8,0x7F,0xF0,0x1F,0xFF,0xFF,0xE0,0x1F,0xFF,0xFF,0xE0,0x0F,0xFF,0xFF,0xC0,0x07,0xFF,0xFF,0x80,0x03,0xFF,0xFF,0x00,0x01,0xFF,0xFC,0x00,0x00,0x7F,0xF0,0x00,0x00,0x00,0x00,0x00,0x00,0x00,0x00,0x00,0x00,0x00,0x00,0x00,  // 0
    0x00,0x00,0x00,0x00,0x00,0x00,0x00,0x00,0x00,0x00,0x00,0x00,0x00,0x01,0xF8,0x00,0x00,0x07,0xFC,0x00,0x00,0x1F,0xFC,0x00,0x00,0x3F,0xFC,0x00,0x00,0xFF,0xFC,0x00,0x01,0xFF,0xFC,0x00,0x07,0xFF,0xFC,0x00,0x0F,0xFF,0xFC,0x00,0x0F,0xFF,0xFC,0x00,0x0F,0xFF,0xFC,0x00,0x0F,0xE7,0xFC,0x00,0x0F,0x87,0xFC,0x00,0x0E,0x07,0xFC,0x00,0x00,0x07,0xFC,0x00,0x00,0x07,0xFC,0x00,0x00,0x07,0xFC,0x00,0x00,0x07,0xFC,0x00,0x00,0x07,0xFC,0x00,0x00,0x07,0xFC,0x00,0x00,0x07,0xFC,0x00,0x00,0x07,0xFC,0x00,0x00,0x07,0xFC,0x00,0x00,0x07,0xFC,0x00,0x00,0x07,0xFC,0x00,0x00,0x07,0xFC,0x00,0x00,0x07,0xFC,0x00,0x00,0x07,0xFC,0x00,0x00,0x07,0xFC,0x00,0x00,0x07,0xFC,0x00,0x00,0x07,0xFC,0x00,0x00,0x07,0xFC,0x00,0x00,0x07,0xFC,0x00,0x00,0x07,0xFC,0x00,0x00,0x07,0xFC,0x00,0x07,0xFF,0xFF,0xF8,0x0F,0xFF,0xFF,0xF8,0x0F,0xFF,0xFF,0xFC,0x0F,0xFF,0xFF,0xFC,0x0F,0xFF,0xFF,0xFC,0x0F,0xFF,0xFF,0xFC,0x0F,0xFF,0xFF,0xF8,0x00,0x00,0x00,0x00,0x00,0x00,0x00,0x00,0x00,0x00,0x00,0x00,0x00,0x00,0x00,0x00,  // 1
    0x00,0x00,0x00,0x00,0x00,0x00,0x00,0x00,0x00,0x00,0x00,0x00,0x00,0x3F,0xF8,0x00,0x01,0xFF,0xFF,0x00,0x07,0xFF,0xFF,0x80,0x0F,0xFF,0xFF,0xC0,0x1F,0xFF,0xFF,0xE0,0x1F,0xFF,0xFF,0xF0,0x1F,0xFF,0xFF,0xF0,0x1F,0xFF,0xFF,0xF0,0x1F,0xC0,0xFF,0xF0,0x1F,0x00,0x7F,0xF8,0x0C,0x00,0x3F,0xF8,0x00,0x00,0x3F,0xF8,0x00,0x00,0x3F,0xF8,0x00,0x00,0x3F,0xF0,0x00,0x00,0x3F,0xF0,0x00,0x00,0x3F,0xF0,0x00,0x00,0x7F,0xF0,0x00,0x00,0x7F,0xE0,0x00,0x00,0xFF,0xE0,0x00,0x00,0xFF,0xC0,0x00,0x01,0xFF,0xC0,0x00,0x03,0xFF,0x80,0x00,0x07,0xFF,0x00,0x00,0x0F,0xFF,0x00,0x00,0x1F,0xFE,0x00,0x00,0x1F,0xFC,0x00,0x00,0x3F,0xF8,0x00,0x00,0x7F,0xF0,0x00,0x00,0xFF,0xE0,0x00,0x01,0xFF,0xC0,0x00,0x03,0xFF,0x80,0x00,0x07,0xFF,0x00,0x00,0x0F,0xFE,0x00,0x00,0x1F,0xFC,0x00,0x00,0x1F,0xFF,0xFF,0xFC,0x3F,0xFF,0xFF,0xFC,0x3F,0xFF,0xFF,0xFC,0x3F,0xFF,0xFF,0xFC,0x3F,0xFF,0xFF,0xFC,0x3F,0xFF,0xFF,0xFC,0x1F,0xFF,0xFF,0xFC,0x00,0x00,0x00,0x00,0x00,0x00,0x00,0x00,0x00,0x00,0x00,0x00,0x00,0x00,0x00,0x00,  // 2
    0x00,0x00,0x00,0x00,0x00,0x00,0x00,0x00,0x00,0x00,0x00,0x00,0x00,0x3F,0xF8,0x00,0x01,0xFF,0xFF,0x00,0x07,0xFF,0xFF,0x80,0x0F,0xFF,0xFF,0xC0,0x1F,0xFF,0xFF,0xE0,0x1F,0xFF,0xFF,0xE0,0x1F,0xFF,0xFF,0xF0,0x1F,0xE0,0xFF,0xF0,0x1F,0x00,0x7F,0xF0,0x0E,0x00,0x3F,0xF0,0x00,0x00,0x3F,0xF0,0x00,0x00,0x1F,0xF0,0x00,0x00,0x1F,0xF0,0x00,0x00,0x3F,0xF0,0x00,0x00,0x3F,0xF0,0x00,0x00,0x7F,0xE0,0x00,0x01,0xFF,0xE0,0x01,0xFF,0xFF,0xC0,0x03,0xFF,0xFF,0x80,0x03,0xFF,0xFE,0x00,0x03,0xFF,0xFF,0x00,0x03,0xFF,0xFF,0xC0,0x03,0xFF,0xFF,0xE0,0x01,0xFF,0xFF,0xF0,0x00,0x01,0xFF,0xF8,0x00,0x00,0x7F,0xF8,0x00,0x00,0x3F,0xFC,0x00,0x00,0x1F,0xFC,0x00,0x00,0x1F,0xFC,0x00,0x00,0x0F,0xFC,0x00,0x00,0x0F,0xFC,0x00,0x00,0x1F,0xFC,0x18,0x00,0x1F,0xFC,0x3E,0x00,0x3F,0xF8,0x3F,0xC0,0xFF,0xF8,0x3F,0xFF,0xFF,0xF0,0x3F,0xFF,0xFF,0xF0,0x3F,0xFF,0xFF,0xE0,0x1F,0xFF,0xFF,0xC0,0x1F,0xFF,0xFF,0x80,0x07,0xFF,0xFE,0x00,0x00,0xFF,0xF0,0x00,0x00,0x00,0x00,0x00,0x00,0x00,0x00,0x00,0x00,0x00,0x00,0x00,  // 3
    0x00,0x00,0x00,0x00,0x00,0x00,0x00,0x00,0x00,0x00,0x00,0x00,0x00,0x00,0x7F,0x00,0x00,0x03,0xFF,0xC0,0x00,0x03,0xFF,0xC0,0x00,0x07,0xFF,0xC0,0x00,0x0F,0xFF,0xC0,0x00,0x0F,0xFF,0xC0,0x00,0x1F,0xFF,0xC0,0x00,0x1F,0xFF,0xC0,0x00,0x3F,0xFF,0xC0,0x00,0x3F,0xFF,0xC0,0x00,0x7F,0xBF,0xC0,0x00,0xFF,0xBF,0xC0,0x00,0xFF,0x3F,0xC0,0x01,0xFE,0x3F,0xC0,0x01,0xFE,0x3F,0xC0,0x03,0xFC,0x3F,0xC0,0x03,0xFC,0x3F,0xC0,0x07,0xF8,0x3F,0xC0,0x0F,0xF8,0x3F,0xC0,0x0F,0xF0,0x3F,0xC0,0x1F,0xE0,0x3F,0xC0,0x1F,0xE0,0x3F,0xC0,0x3F,0xC0,0x3F,0xC0,0x3F,0xC0,0x3F,0xC0,0x7F,0x80,0x3F,0xC0,0x7F,0x80,0x3F,0xC0,0x7F,0xFF,0xFF,0xFE,0x7F,0xFF,0xFF,0xFE,0x7F,0xFF,0xFF,0xFE,0x7F,0xFF,0xFF,0xFE,0x7F,0xFF,0xFF,0xFE,0x7F,0xFF,0xFF,0xFE,0x7F,0xFF,0xFF,0xFE,0x00,0x00,0x3F,0xC0,0x00,0x00,0x3F,0xC0,0x00,0x00,0x3F,0xC0,0x00,0x00,0x3F,0xC0,0x00,0x00,0x3F,0xC0,0x00,0x00,0x3F,0xC0,0x00,0x00,0x3F,0xC0,0x00,0x00,0x3F,0xC0,0x00,0x00,0x1F,0x80,0x00,0x00,0x00,0x00,0x00,0x00,0x00,0x00,0x00,0x00,0x00,0x00,  // 4
    0x00,0x00,0x00,0x00,0x00,0x00,0x00,0x00,0x00,0x00,0x00,0x00,0x00,0x00,0x00,0x00,0x0F,0xFF,0xFF,0xE0,0x0F,0xFF,0xFF,0xE0,0x0F,0xFF,0xFF,0xE0,0x0F,0xFF,0xFF,0xE0,0x0F,0xFF,0xFF,0xE0,0x0F,0xFF,0xFF,0xE0,0x0F,0xFF,0xFF,0xE0,0x0F,0xF0,0x00,0x00,0x0F,0xF0,0x00,0x00,0x0F,0xF0,0x00,0x00,0x0F,0xF0,0x00,0x00,0x0F,0xF0,0x00,0x00,0x0F,0xF0,0x00,0x00,0x0F,0xF0,0x00,0x00,0x0F,0xF0,0x00,0x00,0x0F,0xFF,0xF0,0x00,0x0F,0xFF,0xFF,0x00,0x0F,0xFF,0xFF,0x80,0x0F,0xFF,0xFF,0xE0,0x0F,0xFF,0xFF,0xE0,0x0F,0xFF,0xFF,0xF0,0x0F,0xFF,0xFF,0xF8,0x00,0x00,0xFF,0xF8,0x00,0x00,0x3F,0xF8,0x00,0x00,0x1F,0xF8,0x00,0x00,0x0F,0xFC,0x00,0x00,0x0F,0xFC,0x00,0x00,0x0F,0xFC,0x00,0x00,0x0F,0xFC,0x00,0x00,0x0F,0xFC,0x00,0x00,0x1F,0xF8,0x00,0x00,0x1F,0xF8,0x1C,0x00,0x3F,0xF8,0x1F,0x80,0xFF,0xF0,0x1F,0xFF,0xFF,0xF0,0x1F,0xFF,0xFF,0xE0,0x1F,0xFF,0xFF,0xC0,0x1F,0xFF,0xFF,0x80,0x1F,0xFF,0xFF,0x00,0x0F,0xFF,0xFC,0x00,0x01,0xFF,0xE0,0x00,0x00,0x00,0x00,0x00,0x00,0x00,0x00,0x00,0x00,0x00,0x00,0x00,  // 5
    0x00,0x00,0x00,0x00,0x00,0x00,0x00,0x00,0x00,0x00,0x00,0x00,0x00,0x01,0xFF,0xC0,0x00,0x0F,0xFF,0xF8,0x00,0x1F,0xFF,0xF8,0x00,0x7F,0xFF,0xF8,0x00,0xFF,0xFF,0xF8,0x01,0xFF,0xFF,0xF8,0x01,0xFF,0xFF,0xF8,0x03,0xFF,0x80,0x78,0x03,0xFF,0x00,0x00,0x07,0xFC,0x00,0x00,0x07,0xFC,0x00,0x00,0x0F,0xF8,0x00,0x00,0x0F,0xF8,0x00,0x00,0x0F,0xF0,0x00,0x00,0x0F,0xF0,0x00,0x00,0x0F,0xF0,0x7C,0x00,0x1F,0xF7,0xFF,0xC0,0x1F,0xFF,0xFF,0xF0,0x1F,0xFF,0xFF,0xF8,0x1F,0xFF,0xFF,0xFC,0x1F,0xFF,0xFF,0xFC,0x1F,0xFF,0xFF,0xFE,0x1F,0xFF,0x9F,0xFE,0x1F,0xFC,0x07,0xFE,0x1F,0xF0,0x03,0xFE,0x1F,0xF0,0x03,0xFF,0x1F,0xF0,0x01,0xFF,0x1F,0xF0,0x01,0xFF,0x1F,0xF0,0x01,0xFF,0x1F,0xF0,0x01,0xFF,0x0F,0xF8,0x01,0xFE,0x0F,0xF8,0x03,0xFE,0x0F,0xF8,0x03,0xFE,0x0F,0xFC,0x07,0xFE,0x07,0xFE,0x0F,0xFC,0x07,0xFF,0xFF,0xFC,0x03,0xFF,0xFF,0xF8,0x03,0xFF,0xFF,0xF0,0x01,0xFF,0xFF,0xF0,0x00,0xFF,0xFF,0xC0,0x00,0x7F,0xFF,0x80,0x00,0x0F,0xFC,0x00,0x00,0x00,0x00,0x00,0x00,0x00,0x00,0x00,0x00,0x00,0x00,0x00,  // 6
    0x00,0x00,0x00,0x00,0x00,0x00,0x00,0x00,0x00,0x00,0x00,0x00,0x00,0x00,0x00,0x00,0x1F,0xFF,0xFF,0xFE,0x1F,0xFF,0xFF,0xFE,0x1F,0xFF,0xFF,0xFE,0x1F,0xFF,0xFF,0xFE,0x1F,0xFF,0xFF,0xFE,0x1F,0xFF,0xFF,0xFE,0x1F,0xFF,0xFF,0xFE,0x00,0x00,0x07,0xFC,0x00,0x00,0x0F,0xFC,0x00,0x00,0x0F,0xFC,0x00,0x00,0x1F,0xF8,0x00,0x00,0x1F,0xF8,0x00,0x00,0x3F,0xF0,0x00,0x00,0x3F,0xF0,0x00,0x00,0x3F,0xE0,0x00,0x00,0x7F,0xE0,0x00,0x00,0x7F,0xE0,0x00,0x00,0xFF,0xC0,0x00,0x00,0xFF,0xC0,0x00,0x01,0xFF,0x80,0x00,0x01,0xFF,0x80,0x00,0x03,0xFF,0x00,0x00,0x03,0xFF,0x00,0x00,0x03,0xFF,0x00,0x00,0x07,0xFE,0x00,0x00,0x07,0xFE,0x00,0x00,0x0F,0xFC,0x00,0x00,0x0F,0xFC,0x00,0x00,0x1F,0xFC,0x00,0x00,0x1F,0xF8,0x00,0x00,0x3F,0xF8,0x00,0x00,0x3F,0xF0,0x00,0x00,0x3F,0xF0,0x00,0x00,0x7F,0xE0,0x00,0x00,0x7F,0xE0,0x00,0x00,0xFF,0xE0,0x00,0x00,0xFF,0xC0,0x00,0x01,0xFF,0xC0,0x00,0x01,0xFF,0x80,0x00,0x01,0xFF,0x80,0x00,0x00,0x7E,0x00,0x00,0x00,0x00,0x00,0x00,0x00,0x00,0x00,0x00,0x00,0x00,0x00,0x00,  // 7
    0x00,0x00,0x00,0x00,0x00,0x00,0x00,0x00,0x00,0x00,0x00,0x00,0x00,0x0F,0xFE,0x00,0x00,0x7F,0xFF,0xC0,0x00,0xFF,0xFF,0xE0,0x01,0xFF,0xFF,0xF0,0x03,0xFF,0xFF,0xF8,0x07,0xFF,0xFF,0xFC,0x07,0xFF,0xFF,0xFC,0x0F,0xFC,0x0F,0xFC,0x0F,0xF8,0x07,0xFC,0x0F,0xF8,0x03,0xFC,0x0F,0xF0,0x03,0xFC,0x0F,0xF0,0x03,0xFC,0x0F,0xF8,0x07,0xFC,0x0F,0xF8,0x07,0xFC,0x0F,0xFE,0x0F,0xF8,0x07,0xFF,0x1F,0xF8,0x07,0xFF,0xFF,0xF0,0x03,0xFF,0xFF,0xE0,0x01,0xFF,0xFF,0xC0,0x00,0xFF,0xFF,0x80,0x00,0x7F,0xFF,0x80,0x00,0x7F,0xFF,0xE0,0x01,0xFF,0xFF,0xF0,0x03,0xFF,0xFF,0xF8,0x07,0xFF,0x7F,0xFC,0x0F,0xFE,0x1F,0xFE,0x0F,0xFC,0x0F,0xFE,0x1F,0xF8,0x07,0xFE,0x1F,0xF0,0x03,0xFF,0x1F,0xF0,0x01,0xFF,0x1F,0xE0,0x01,0xFF,0x1F,0xE0,0x01,0xFF,0x1F,0xF0,0x01,0xFF,0x1F,0xF0,0x03,0xFE,0x1F,0xFC,0x07,0xFE,0x1F,0xFF,0xFF,0xFE,0x0F,0xFF,0xFF,0xFC,0x0F,0xFF,0xFF,0xFC,0x07,0xFF,0xFF,0xF8,0x03,0xFF,0xFF,0xE0,0x00,0xFF,0xFF,0xC0,0x00,0x1F,0xFE,0x00,0x00,0x00,0x00,0x00,0x00,0x00,0x00,0x00,0x00,0x00,0x00,0x00,  // 8
    0x00,0x00,0x00,0x00,0x00,0x00,0x00,0x00,0x00,0x00,0x00,0x00,0x00,0x0F,0xFC,0x00,0x00,0x7F,0xFF,0x80,0x00,0xFF,0xFF,0xC0,0x03,0xFF,0xFF,0xE0,0x03,0xFF,0xFF,0xF0,0x07,0xFF,0xFF,0xF8,0x0F,0xFF,0xFF,0xF8,0x0F,0xFC,0x1F,0xFC,0x1F,0xF8,0x0F,0xFC,0x1F,0xF0,0x07,0xFC,0x1F,0xF0,0x07,0xFC,0x1F,0xF0,0x03,0xFE,0x1F,0xE0,0x03,0xFE,0x1F,0xE0,0x03,0xFE,0x1F,0xE0,0x03,0xFE,0x1F,0xF0,0x03,0xFE,0x1F,0xF0,0x03,0xFE,0x1F,0xF0,0x03,0xFE,0x1F,0xF8,0x07,0xFE,0x1F,0xFE,0x3F,0xFE,0x0F,0xFF,0xFF,0xFE,0x0F,0xFF,0xFF,0xFE,0x07,0xFF,0xFF,0xFE,0x07,0xFF,0xFF,0xFE,0x01,0xFF,0xFF,0xFE,0x00,0xFF,0xFB,0xFE,0x00,0x0F,0x83,0xFE,0x00,0x00,0x03,0xFC,0x00,0x00,0x03,0xFC,0x00,0x00,0x07,0xFC,0x00,0x00,0x07,0xFC,0x00,0x00,0x0F,0xF8,0x00,0x00,0x0F,0xF8,0x00,0x00,0x1F,0xF8,0x0F,0x80,0x7F,0xF0,0x0F,0xFF,0xFF,0xE0,0x0F,0xFF,0xFF,0xE0,0x0F,0xFF,0xFF,0xC0,0x0F,0xFF,0xFF,0x80,0x0F,0xFF,0xFE,0x00,0x07,0xFF,0xFC,0x00,0x00,0xFF,0xE0,0x00,0x00,0x00,0x00,0x00,0x00,0x00,0x00,0x00,0x00,0x00,0x00,0x00,  // 9
};
*/
```
